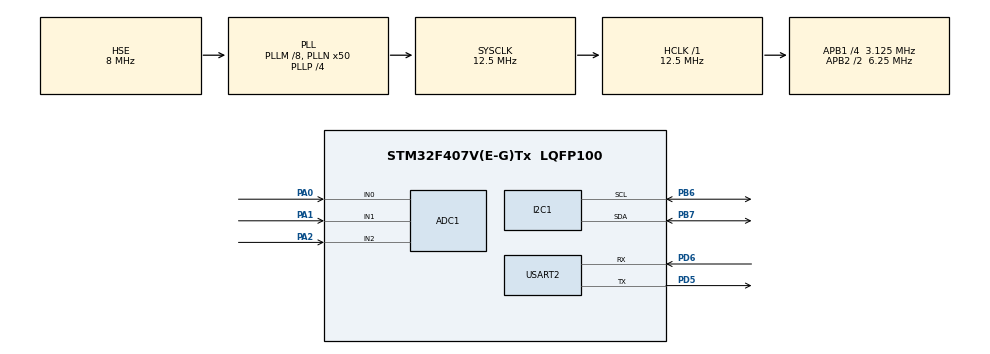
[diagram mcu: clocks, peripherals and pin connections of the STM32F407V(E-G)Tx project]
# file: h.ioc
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ADC1.Channel-1\#ChannelRegularConversion=ADC_CHANNEL_1
ADC1.NbrOfConversionFlag=1
ADC1.Rank-1\#ChannelRegularConversion=1
ADC1.SamplingTime-1\#ChannelRegularConversion=ADC_SAMPLETIME_3CYCLES
ADC1.master=1
Mcu.Family=STM32F4
Mcu.Name=STM32F407V(E-G)Tx
Mcu.Package=LQFP100
NVIC.PriorityGroup=NVIC_PRIORITYGROUP_0
PA0-WKUP.Signal=ADCx_IN0
PA1.Signal=ADCx_IN1
PA13.Mode=Serial_Wire
PA13.Signal=SYS_JTMS-SWDIO
PA14.Mode=Serial_Wire
PA14.Signal=SYS_JTCK-SWCLK
PA2.Signal=ADCx_IN2
PB6.Mode=I2C
PB6.Signal=I2C1_SCL
PB7.Mode=I2C
PB7.Signal=I2C1_SDA
PD5.Mode=Asynchronous
PD5.Signal=USART2_TX
PD6.Mode=Asynchronous
PD6.Signal=USART2_RX
PH0-OSC_IN.Mode=HSE-External-Oscillator
PH0-OSC_IN.Signal=RCC_OSC_IN
PH1-OSC_OUT.Mode=HSE-External-Oscillator
PH1-OSC_OUT.Signal=RCC_OSC_OUT
ProjectManager.HeapSize=0x200
ProjectManager.StackSize=0x400
ProjectManager.TargetToolchain=STM32CubeIDE
RCC.48MHZClocksFreq_Value=7142857.142857143
RCC.AHBFreq_Value=12500000
RCC.APB1CLKDivider=RCC_HCLK_DIV4
RCC.APB1Freq_Value=3125000
RCC.APB1TimFreq_Value=6250000
RCC.APB2CLKDivider=RCC_HCLK_DIV2
RCC.APB2Freq_Value=6250000
RCC.APB2TimFreq_Value=12500000
RCC.CortexFreq_Value=12500000
RCC.HCLKFreq_Value=12500000
RCC.HSE_VALUE=8000000
RCC.HSI_VALUE=16000000
RCC.LSE_VALUE=32768
RCC.PLLM=8
RCC.PLLN=50
RCC.PLLP=RCC_PLLP_DIV4
RCC.PLLQ=7
RCC.PLLSourceVirtual=RCC_PLLSOURCE_HSE
RCC.SYSCLKFreq_VALUE=12500000
RCC.SYSCLKSource=RCC_SYSCLKSOURCE_PLLCLK
RCC.VCOOutputFreq_Value=50000000
SH.ADCx_IN0.0=ADC1_IN0,IN0
SH.ADCx_IN1.0=ADC1_IN1,IN1
SH.ADCx_IN2.0=ADC1_IN2,IN2
USART2.VirtualMode=VM_ASYNC
board=STM32F407G-DISC1

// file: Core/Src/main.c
/* USER CODE BEGIN Header */
/**
  ******************************************************************************
  * @file           : main.c
  * @brief          : Main program body
  ******************************************************************************
  * @attention
  *
  * Copyright (c) 2024 STMicroelectronics.
  * All rights reserved.
  *
  * This software is licensed under terms that can be found in the LICENSE file
  * in the root directory of this software component.
  * If no LICENSE file comes with this software, it is provided AS-IS.
  *
  ******************************************************************************
  */
/* USER CODE END Header */
#include "main.h"

/* USER CODE BEGIN Includes */
#include<stdio.h>
#include<string.h>
#include "i2c-lcd.h"

/* USER CODE END Includes */

ADC_HandleTypeDef hadc1;

I2C_HandleTypeDef hi2c1;

UART_HandleTypeDef huart2;

/* USER CODE BEGIN PV */
char uartBuffer[20];
/* USER CODE END PV */

void SystemClock_Config(void);
static void MX_GPIO_Init(void);
static void MX_ADC1_Init(void);
static void MX_USART2_UART_Init(void);
static void MX_I2C1_Init(void);

/* USER CODE BEGIN 0 */
int row=0;
int col=0;
/* USER CODE END 0 */

int main(void)
{
  /* USER CODE BEGIN 1 */
  uint32_t value;

  /* USER CODE END 1 */

  /* MCU Configuration--------------------------------------------------------*/

  /* Reset of all peripherals, Initializes the Flash interface and the Systick. */
  HAL_Init();

  /* Configure the system clock */
  SystemClock_Config();

  /* Initialize all configured peripherals */
  MX_GPIO_Init();
  MX_ADC1_Init();
  MX_USART2_UART_Init();
  MX_I2C1_Init();
  /* USER CODE BEGIN 2 */
    lcd_init ();
    lcd_put_cur(0, 1);
    lcd_send_string ("Namaste..");

    lcd_put_cur(1, 0);
    lcd_send_string ("From Surya");

    HAL_Delay(4000);

    lcd_clear ();

  /* USER CODE END 2 */

  /* Infinite loop */
  while (1)
  {

    /* USER CODE BEGIN 3 */
	  HAL_ADC_Start(&hadc1);
	       if (HAL_ADC_PollForConversion(&hadc1, HAL_MAX_DELAY) == HAL_OK)
	       {
	           value = HAL_ADC_GetValue(&hadc1);
	           printf("ADC Value: %ld\r\n", value); // Add this line for debugging
	           float temperature =(value * 3300.00 / 4096.00 / 10.00);

	           //sprintf(uartBuffer, "Temp : %.1f C", temperature);
	           sprintf(uartBuffer, "Temp: %.1f%c C", temperature,0176);

	           if (HAL_UART_Transmit(&huart2,uartBuffer, strlen(uartBuffer), HAL_MAX_DELAY) == HAL_OK)
	           {
	               printf("Temperature: %f C\r\n", temperature); // Add this line for debugging

	           }
	           else
	           {
	               Error_Handler(); // Handle UART transmission error
	           }
	       }
	       else
	       {
	           Error_Handler(); // Handle ADC conversion error
	       }

	       HAL_ADC_Stop(&hadc1);

	       //lcd_clear();
	       lcd_put_cur(0, 1);
	       lcd_send_string("Live temperature");
	       lcd_put_cur(1, 0);
	       lcd_send_string(uartBuffer);
//	       lcd_put_cur(1, 1);
//	       lcd_send_string("surya");
	       HAL_Delay(1000);

  }
  /* USER CODE END 3 */
}

void SystemClock_Config(void)
{
  RCC_OscInitTypeDef RCC_OscInitStruct = {0};
  RCC_ClkInitTypeDef RCC_ClkInitStruct = {0};

  /** Configure the main internal regulator output voltage
  */
  __HAL_RCC_PWR_CLK_ENABLE();
  __HAL_PWR_VOLTAGESCALING_CONFIG(PWR_REGULATOR_VOLTAGE_SCALE1);

  /** Initializes the RCC Oscillators according to the specified parameters
  * in the RCC_OscInitTypeDef structure.
  */
  RCC_OscInitStruct.OscillatorType = RCC_OSCILLATORTYPE_HSE;
  RCC_OscInitStruct.HSEState = RCC_HSE_ON;
  RCC_OscInitStruct.PLL.PLLState = RCC_PLL_ON;
  RCC_OscInitStruct.PLL.PLLSource = RCC_PLLSOURCE_HSE;
  RCC_OscInitStruct.PLL.PLLM = 8;
  RCC_OscInitStruct.PLL.PLLN = 50;
  RCC_OscInitStruct.PLL.PLLP = RCC_PLLP_DIV4;
  RCC_OscInitStruct.PLL.PLLQ = 7;
  if (HAL_RCC_OscConfig(&RCC_OscInitStruct) != HAL_OK)
  {
    Error_Handler();
  }

  /** Initializes the CPU, AHB and APB buses clocks
  */
  RCC_ClkInitStruct.ClockType = RCC_CLOCKTYPE_HCLK|RCC_CLOCKTYPE_SYSCLK
                              |RCC_CLOCKTYPE_PCLK1|RCC_CLOCKTYPE_PCLK2;
  RCC_ClkInitStruct.SYSCLKSource = RCC_SYSCLKSOURCE_PLLCLK;
  RCC_ClkInitStruct.AHBCLKDivider = RCC_SYSCLK_DIV1;
  RCC_ClkInitStruct.APB1CLKDivider = RCC_HCLK_DIV4;
  RCC_ClkInitStruct.APB2CLKDivider = RCC_HCLK_DIV2;

  if (HAL_RCC_ClockConfig(&RCC_ClkInitStruct, FLASH_LATENCY_0) != HAL_OK)
  {
    Error_Handler();
  }
}

static void MX_ADC1_Init(void)
{

  ADC_ChannelConfTypeDef sConfig = {0};

  /** Configure the global features of the ADC (Clock, Resolution, Data Alignment and number of conversion)
  */
  hadc1.Instance = ADC1;
  hadc1.Init.ClockPrescaler = ADC_CLOCK_SYNC_PCLK_DIV2;
  hadc1.Init.Resolution = ADC_RESOLUTION_12B;
  hadc1.Init.ScanConvMode = DISABLE;
  hadc1.Init.ContinuousConvMode = DISABLE;
  hadc1.Init.DiscontinuousConvMode = DISABLE;
  hadc1.Init.ExternalTrigConvEdge = ADC_EXTERNALTRIGCONVEDGE_NONE;
  hadc1.Init.ExternalTrigConv = ADC_SOFTWARE_START;
  hadc1.Init.DataAlign = ADC_DATAALIGN_RIGHT;
  hadc1.Init.NbrOfConversion = 1;
  hadc1.Init.DMAContinuousRequests = DISABLE;
  hadc1.Init.EOCSelection = ADC_EOC_SINGLE_CONV;
  if (HAL_ADC_Init(&hadc1) != HAL_OK)
  {
    Error_Handler();
  }

  /** Configure for the selected ADC regular channel its corresponding rank in the sequencer and its sample time.
  */
  sConfig.Channel = ADC_CHANNEL_1;
  sConfig.Rank = 1;
  sConfig.SamplingTime = ADC_SAMPLETIME_3CYCLES;
  if (HAL_ADC_ConfigChannel(&hadc1, &sConfig) != HAL_OK)
  {
    Error_Handler();
  }

}

static void MX_I2C1_Init(void)
{

  hi2c1.Instance = I2C1;
  hi2c1.Init.ClockSpeed = 100000;
  hi2c1.Init.DutyCycle = I2C_DUTYCYCLE_2;
  hi2c1.Init.OwnAddress1 = 0;
  hi2c1.Init.AddressingMode = I2C_ADDRESSINGMODE_7BIT;
  hi2c1.Init.DualAddressMode = I2C_DUALADDRESS_DISABLE;
  hi2c1.Init.OwnAddress2 = 0;
  hi2c1.Init.GeneralCallMode = I2C_GENERALCALL_DISABLE;
  hi2c1.Init.NoStretchMode = I2C_NOSTRETCH_DISABLE;
  if (HAL_I2C_Init(&hi2c1) != HAL_OK)
  {
    Error_Handler();
  }

}

static void MX_USART2_UART_Init(void)
{

  huart2.Instance = USART2;
  huart2.Init.BaudRate = 115200;
  huart2.Init.WordLength = UART_WORDLENGTH_8B;
  huart2.Init.StopBits = UART_STOPBITS_1;
  huart2.Init.Parity = UART_PARITY_NONE;
  huart2.Init.Mode = UART_MODE_TX_RX;
  huart2.Init.HwFlowCtl = UART_HWCONTROL_NONE;
  huart2.Init.OverSampling = UART_OVERSAMPLING_16;
  if (HAL_UART_Init(&huart2) != HAL_OK)
  {
    Error_Handler();
  }

}

static void MX_GPIO_Init(void)
{

  /* GPIO Ports Clock Enable */
  __HAL_RCC_GPIOH_CLK_ENABLE();
  __HAL_RCC_GPIOA_CLK_ENABLE();
  __HAL_RCC_GPIOD_CLK_ENABLE();
  __HAL_RCC_GPIOB_CLK_ENABLE();

}

void Error_Handler(void)
{
  __disable_irq();
  while (1)
  {
  }
}
